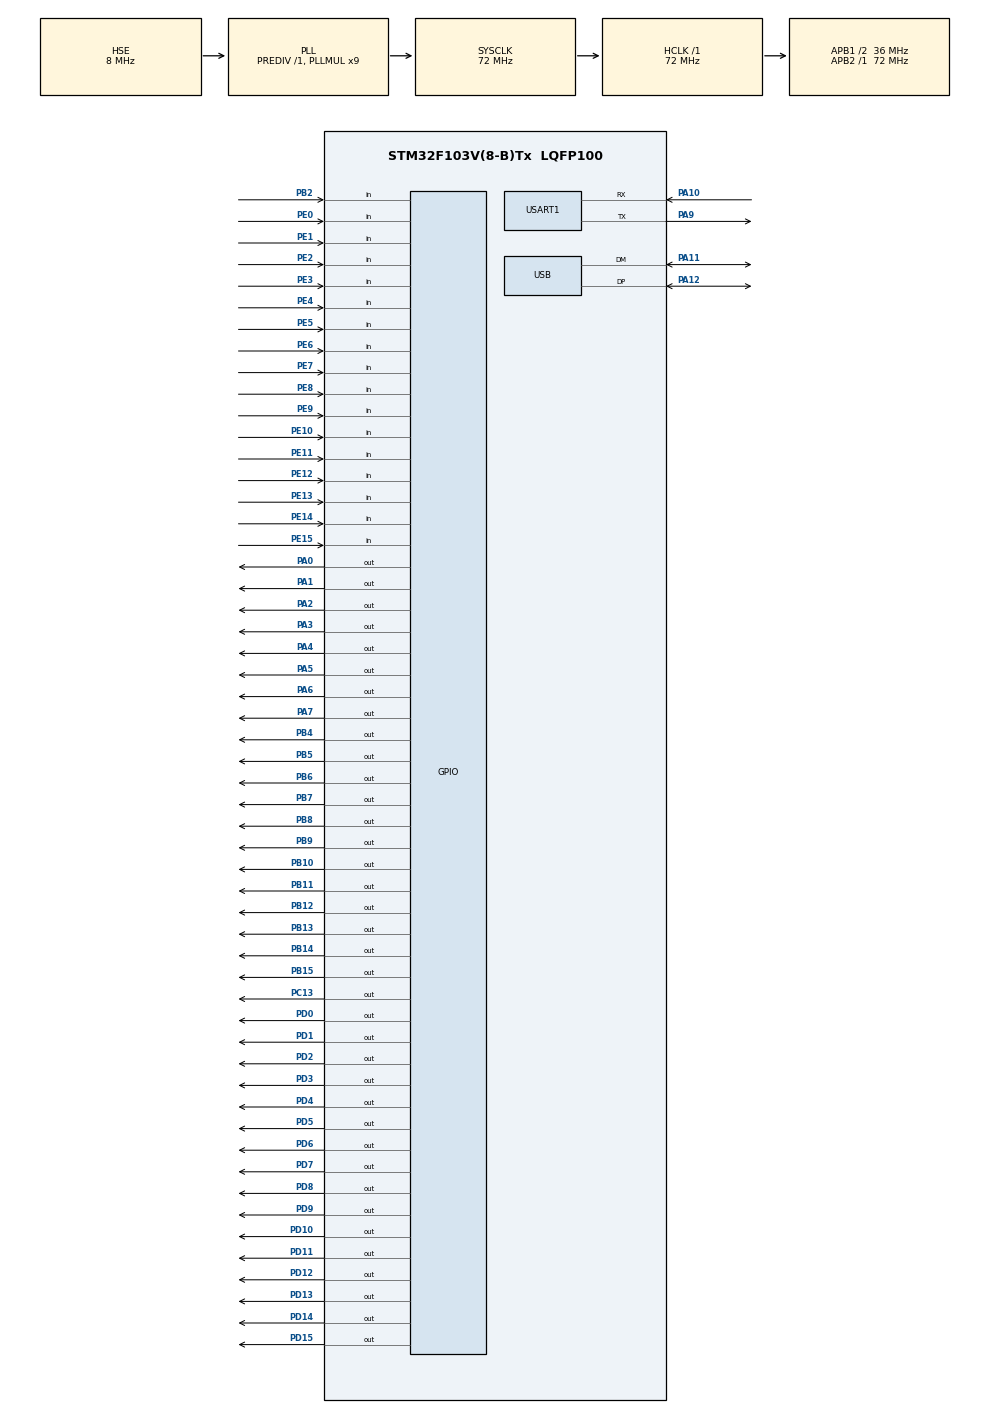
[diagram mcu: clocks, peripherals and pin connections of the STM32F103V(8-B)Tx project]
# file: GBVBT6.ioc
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Mcu.Family=STM32F1
Mcu.Name=STM32F103V(8-B)Tx
Mcu.Package=LQFP100
NVIC.PriorityGroup=NVIC_PRIORITYGROUP_4
NVIC.USB_LP_CAN1_RX0_IRQn=true\:0\:0\:false\:false\:true\:false\:true\:true
OSC_IN.Mode=HSE-External-Oscillator
OSC_IN.Signal=RCC_OSC_IN
OSC_OUT.Mode=HSE-External-Oscillator
OSC_OUT.Signal=RCC_OSC_OUT
PA0-WKUP.GPIO_ModeDefaultOutputPP=GPIO_MODE_OUTPUT_PP
PA0-WKUP.GPIO_Speed=GPIO_SPEED_FREQ_HIGH
PA0-WKUP.Signal=GPIO_Output
PA1.GPIO_ModeDefaultOutputPP=GPIO_MODE_OUTPUT_PP
PA1.GPIO_Speed=GPIO_SPEED_FREQ_HIGH
PA1.Signal=GPIO_Output
PA10.Mode=Asynchronous
PA10.Signal=USART1_RX
PA11.Mode=Device
PA11.Signal=USB_DM
PA12.Mode=Device
PA12.Signal=USB_DP
PA13.Mode=Serial_Wire
PA13.Signal=SYS_JTMS-SWDIO
PA14.Mode=Serial_Wire
PA14.Signal=SYS_JTCK-SWCLK
PA2.GPIO_ModeDefaultOutputPP=GPIO_MODE_OUTPUT_PP
PA2.GPIO_Speed=GPIO_SPEED_FREQ_HIGH
PA2.Signal=GPIO_Output
PA3.GPIO_ModeDefaultOutputPP=GPIO_MODE_OUTPUT_PP
PA3.GPIO_Speed=GPIO_SPEED_FREQ_HIGH
PA3.Signal=GPIO_Output
PA4.GPIO_ModeDefaultOutputPP=GPIO_MODE_OUTPUT_PP
PA4.GPIO_Speed=GPIO_SPEED_FREQ_HIGH
PA4.Signal=GPIO_Output
PA5.GPIO_ModeDefaultOutputPP=GPIO_MODE_OUTPUT_PP
PA5.GPIO_Speed=GPIO_SPEED_FREQ_HIGH
PA5.Signal=GPIO_Output
PA6.GPIO_ModeDefaultOutputPP=GPIO_MODE_OUTPUT_PP
PA6.GPIO_Speed=GPIO_SPEED_FREQ_HIGH
PA6.Signal=GPIO_Output
PA7.GPIO_ModeDefaultOutputPP=GPIO_MODE_OUTPUT_PP
PA7.GPIO_Speed=GPIO_SPEED_FREQ_HIGH
PA7.Signal=GPIO_Output
PA9.Mode=Asynchronous
PA9.Signal=USART1_TX
PB10.GPIO_ModeDefaultOutputPP=GPIO_MODE_OUTPUT_PP
PB10.GPIO_PuPd=GPIO_PULLUP
PB10.GPIO_Speed=GPIO_SPEED_FREQ_HIGH
PB10.PinState=GPIO_PIN_SET
PB10.Signal=GPIO_Output
PB11.GPIO_ModeDefaultOutputPP=GPIO_MODE_OUTPUT_PP
PB11.GPIO_Speed=GPIO_SPEED_FREQ_HIGH
PB11.Signal=GPIO_Output
PB12.GPIO_ModeDefaultOutputPP=GPIO_MODE_OUTPUT_PP
PB12.GPIO_Speed=GPIO_SPEED_FREQ_HIGH
PB12.Signal=GPIO_Output
PB13.GPIO_ModeDefaultOutputPP=GPIO_MODE_OUTPUT_PP
PB13.GPIO_Speed=GPIO_SPEED_FREQ_HIGH
PB13.Signal=GPIO_Output
PB14.GPIO_ModeDefaultOutputPP=GPIO_MODE_OUTPUT_PP
PB14.GPIO_Speed=GPIO_SPEED_FREQ_HIGH
PB14.Signal=GPIO_Output
PB15.GPIO_ModeDefaultOutputPP=GPIO_MODE_OUTPUT_PP
PB15.GPIO_Speed=GPIO_SPEED_FREQ_HIGH
PB15.Signal=GPIO_Output
PB2.Signal=GPIO_Input
PB4.GPIO_ModeDefaultOutputPP=GPIO_MODE_OUTPUT_PP
PB4.GPIO_Speed=GPIO_SPEED_FREQ_HIGH
PB4.Signal=GPIO_Output
PB5.GPIO_ModeDefaultOutputPP=GPIO_MODE_OUTPUT_PP
PB5.GPIO_Speed=GPIO_SPEED_FREQ_HIGH
PB5.Signal=GPIO_Output
PB6.GPIO_ModeDefaultOutputPP=GPIO_MODE_OUTPUT_PP
PB6.GPIO_Speed=GPIO_SPEED_FREQ_HIGH
PB6.Signal=GPIO_Output
PB7.GPIO_ModeDefaultOutputPP=GPIO_MODE_OUTPUT_PP
PB7.GPIO_Speed=GPIO_SPEED_FREQ_HIGH
PB7.Signal=GPIO_Output
PB8.GPIO_ModeDefaultOutputPP=GPIO_MODE_OUTPUT_PP
PB8.GPIO_Speed=GPIO_SPEED_FREQ_HIGH
PB8.Signal=GPIO_Output
PB9.GPIO_ModeDefaultOutputPP=GPIO_MODE_OUTPUT_PP
PB9.GPIO_Speed=GPIO_SPEED_FREQ_HIGH
PB9.Signal=GPIO_Output
PC13-TAMPER-RTC.GPIO_Speed=GPIO_SPEED_FREQ_HIGH
PC13-TAMPER-RTC.PinState=GPIO_PIN_RESET
PC13-TAMPER-RTC.Signal=GPIO_Output
PD0.GPIO_ModeDefaultOutputPP=GPIO_MODE_OUTPUT_PP
PD0.GPIO_Speed=GPIO_SPEED_FREQ_HIGH
PD0.Signal=GPIO_Output
PD1.GPIO_ModeDefaultOutputPP=GPIO_MODE_OUTPUT_PP
PD1.GPIO_Speed=GPIO_SPEED_FREQ_HIGH
PD1.Signal=GPIO_Output
PD10.GPIO_ModeDefaultOutputPP=GPIO_MODE_OUTPUT_PP
PD10.GPIO_Speed=GPIO_SPEED_FREQ_HIGH
PD10.Signal=GPIO_Output
PD11.GPIO_ModeDefaultOutputPP=GPIO_MODE_OUTPUT_PP
PD11.GPIO_Speed=GPIO_SPEED_FREQ_HIGH
PD11.Signal=GPIO_Output
PD12.GPIO_ModeDefaultOutputPP=GPIO_MODE_OUTPUT_PP
PD12.GPIO_Speed=GPIO_SPEED_FREQ_HIGH
PD12.Signal=GPIO_Output
PD13.GPIO_ModeDefaultOutputPP=GPIO_MODE_OUTPUT_PP
PD13.GPIO_Speed=GPIO_SPEED_FREQ_HIGH
PD13.Signal=GPIO_Output
PD14.GPIO_ModeDefaultOutputPP=GPIO_MODE_OUTPUT_PP
PD14.GPIO_Speed=GPIO_SPEED_FREQ_HIGH
PD14.Signal=GPIO_Output
PD15.GPIO_ModeDefaultOutputPP=GPIO_MODE_OUTPUT_PP
PD15.GPIO_Speed=GPIO_SPEED_FREQ_HIGH
PD15.Signal=GPIO_Output
PD2.GPIO_ModeDefaultOutputPP=GPIO_MODE_OUTPUT_PP
PD2.GPIO_Speed=GPIO_SPEED_FREQ_HIGH
PD2.Signal=GPIO_Output
PD3.GPIO_ModeDefaultOutputPP=GPIO_MODE_OUTPUT_PP
PD3.GPIO_Speed=GPIO_SPEED_FREQ_HIGH
PD3.Signal=GPIO_Output
PD4.GPIO_ModeDefaultOutputPP=GPIO_MODE_OUTPUT_PP
PD4.GPIO_Speed=GPIO_SPEED_FREQ_HIGH
PD4.Signal=GPIO_Output
PD5.GPIO_ModeDefaultOutputPP=GPIO_MODE_OUTPUT_PP
PD5.GPIO_Speed=GPIO_SPEED_FREQ_HIGH
PD5.Signal=GPIO_Output
PD6.GPIO_ModeDefaultOutputPP=GPIO_MODE_OUTPUT_PP
PD6.GPIO_Speed=GPIO_SPEED_FREQ_HIGH
PD6.Signal=GPIO_Output
PD7.GPIO_ModeDefaultOutputPP=GPIO_MODE_OUTPUT_PP
PD7.GPIO_Speed=GPIO_SPEED_FREQ_HIGH
PD7.Signal=GPIO_Output
PD8.GPIO_ModeDefaultOutputPP=GPIO_MODE_OUTPUT_PP
PD8.GPIO_Speed=GPIO_SPEED_FREQ_HIGH
PD8.Signal=GPIO_Output
PD9.GPIO_ModeDefaultOutputPP=GPIO_MODE_OUTPUT_PP
PD9.GPIO_Speed=GPIO_SPEED_FREQ_HIGH
PD9.Signal=GPIO_Output
PE0.GPIO_PuPd=GPIO_PULLUP
PE0.Signal=GPIO_Input
PE1.GPIO_PuPd=GPIO_PULLUP
PE1.Signal=GPIO_Input
PE10.GPIO_PuPd=GPIO_PULLUP
PE10.Signal=GPIO_Input
PE11.GPIO_PuPd=GPIO_PULLUP
PE11.Signal=GPIO_Input
PE12.GPIO_PuPd=GPIO_PULLUP
PE12.Signal=GPIO_Input
PE13.GPIO_PuPd=GPIO_PULLUP
PE13.Signal=GPIO_Input
PE14.GPIO_PuPd=GPIO_PULLUP
PE14.Signal=GPIO_Input
PE15.GPIO_PuPd=GPIO_PULLUP
PE15.Signal=GPIO_Input
PE2.GPIO_PuPd=GPIO_PULLUP
PE2.Signal=GPIO_Input
PE3.GPIO_PuPd=GPIO_PULLUP
PE3.Signal=GPIO_Input
PE4.GPIO_PuPd=GPIO_PULLUP
PE4.Signal=GPIO_Input
PE5.GPIO_PuPd=GPIO_PULLUP
PE5.Signal=GPIO_Input
PE6.GPIO_PuPd=GPIO_PULLUP
PE6.Signal=GPIO_Input
PE7.GPIO_PuPd=GPIO_PULLUP
PE7.Signal=GPIO_Input
PE8.GPIO_PuPd=GPIO_PULLUP
PE8.Signal=GPIO_Input
PE9.GPIO_PuPd=GPIO_PULLUP
PE9.Signal=GPIO_Input
ProjectManager.HeapSize=0x1000
ProjectManager.StackSize=0x2000
ProjectManager.TargetToolchain=MDK-ARM V5.32
RCC.AHBFreq_Value=72000000
RCC.APB1CLKDivider=RCC_HCLK_DIV2
RCC.APB1Freq_Value=36000000
RCC.APB1TimFreq_Value=72000000
RCC.APB2Freq_Value=72000000
RCC.APB2TimFreq_Value=72000000
RCC.HCLKFreq_Value=72000000
RCC.PLLMUL=RCC_PLL_MUL9
RCC.SYSCLKFreq_VALUE=72000000
RCC.SYSCLKSource=RCC_SYSCLKSOURCE_PLLCLK
RCC.USBFreq_Value=48000000
RCC.USBPrescaler=RCC_USBCLKSOURCE_PLL_DIV1_5
USART1.VirtualMode=VM_ASYNC
USB_DEVICE.CLASS_NAME_FS=CDC
USB_DEVICE.VirtualMode=Cdc
USB_DEVICE.VirtualModeFS=Cdc_FS
VP_USB_DEVICE_VS_USB_DEVICE_CDC_FS.Mode=CDC_FS
board=custom

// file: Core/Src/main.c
/* USER CODE BEGIN Header */
/**
  ******************************************************************************
  * @file           : main.c
  * @brief          : Main program body
  ******************************************************************************
  * @attention
  *
  * Copyright (c) 2025 STMicroelectronics.
  * All rights reserved.
  *
  * This software is licensed under terms that can be found in the LICENSE file
  * in the root directory of this software component.
  * If no LICENSE file comes with this software, it is provided AS-IS.
  *
  ******************************************************************************
  */
/* USER CODE END Header */
#include "main.h"
#include "usart.h"
#include "usb_device.h"
#include "gpio.h"

/* USER CODE BEGIN Includes */
#include "MD.h"
#include <stdio.h>
#include <stdint.h>
#include <string.h>
#include "usbd_cdc_if.h"
/* USER CODE END Includes */

void SystemClock_Config(void);

/* USER CODE BEGIN 0 */
	uint8_t receiveBuffer[16][64];
	uint8_t cmdbuff[64];
	uint8_t transmitBuffer[1024];
	uint32_t datacnt;
	uint8_t buffcnt;
	uint32_t addj;
	uint32_t bank = 0;
	uint32_t endadd;
	uint16_t usetime = 0;
	char usetimes[30];
	char displaybuff[50];

	void CDC_Transmit(const char* str)
		{
			uint16_t len = strlen(str);
			while (CDC_Transmit_FS((uint8_t*)str, len) == USBD_BUSY) {
			}
		}

	int fputc(int ch, FILE *f)
		{
			HAL_UART_Transmit(&huart1, (uint8_t *)&ch, 1, 0xffff);
			return ch;
		}

	void memclear(void)
		{
			for(uint8_t i=0;i<15;i++)
				{
					for(uint8_t j = 0;j<64;j++)
					{
						receiveBuffer[i][j]=0x00;
					}
				}
		}

	void memclearTX(void)
		{
			for(uint32_t i=0;i<1024;i++)
				{
					transmitBuffer[i]=0x00;
				}
		}

	void cmdclear(void)
		{
			for(uint8_t j = 0;j<64;j++)
			{
				cmdbuff[j]=0x00;
			}
		}

/* USER CODE END 0 */

int main(void)
{

  /* MCU Configuration--------------------------------------------------------*/

  /* Reset of all peripherals, Initializes the Flash interface and the Systick. */
  HAL_Init();

  /* Configure the system clock */
  SystemClock_Config();

  /* Initialize all configured peripherals */
  MX_GPIO_Init();
  MX_USART1_UART_Init();
  MX_USB_DEVICE_Init();
  /* USER CODE BEGIN 2 */
	HAL_Delay(10);
	addj=0;
	endadd=0;
	memclear();
	cmdclear();
	write_mode();
	memclearTX();
	buffcnt = 0;
  /* USER CODE END 2 */

  /* Infinite loop */
  /* USER CODE BEGIN WHILE */
  while (1)
  {
		if (cmdbuff[0] == 0x0A) {//MD CHOOSE SIZE DUMP
			if((cmdbuff[1] == 0xAA)&&(cmdbuff[2] == 0x55)&&(cmdbuff[3] == 0xAA)&&(cmdbuff[4] == 0xBB)){
				uint32_t wsize = 0;
				if(cmdbuff[5] == 0x04){
				CDC_Transmit("4M ROM DUMP START!!!\r\n");
				wsize = 4096;
				}
				else if(cmdbuff[5] == 0x02){
				CDC_Transmit("1M ROM DUMP START!!!\r\n");
				wsize = 1024;
				}
				else if(cmdbuff[5] == 0x03){
				CDC_Transmit("2M ROM DUMP START!!!\r\n");
				wsize = 2048;
				}
				else{
				CDC_Transmit("512K ROM DUMP START!!!\r\n");
				wsize = 512;
				}
				read_mode();
				MD_WR = 1;
				MD_RD = 1;
				MD_CS = 1;
				memclearTX();
				HAL_Delay(100);
				for(uint32_t j=0 ;j < wsize ; j++){
					for(uint16_t i = 0;i<512;i++){
							setAddress(j*512+i);
							MD_CS = 0;
							MD_RD = 0;
							Delay_nop(30);
							transmitBuffer[i*2] = ((GPIOE->IDR) >>8) & 0xff;
							transmitBuffer[i*2+1] = (GPIOE->IDR) & 0xff;
							MD_RD = 1;
							MD_CS = 1;
							Delay_nop(50);
						}
					CDC_Transmit_FS(transmitBuffer, 1024);
					}
				HAL_Delay(150);
				CDC_Transmit("DUMPER ROM FINISH!!!\r\n");
			}
			CDC_Transmit("PUSH SAVE GAME BUTTON!!!\r\n");
			write_mode();
			cmdclear();
			buffcnt = 0;
			}
		if (cmdbuff[0] == 0x1A) {//MD SRAM CHOOSE SIZE DUMP
			if((cmdbuff[1] == 0xAA)&&(cmdbuff[2] == 0x55)&&(cmdbuff[3] == 0xAA)&&(cmdbuff[4] == 0xBB)){
				uint32_t wsize = 0;
				if(cmdbuff[5] == 0x01){
				CDC_Transmit("32K RAM DUMP START!!!\r\n");
				wsize = 32;
				}
				else{
				CDC_Transmit("8K ROM DUMP START!!!\r\n");
				wsize = 8;
				}
				enableSram_MD(1);
				MD_WR = 1;//WR=1
				MD_RD = 1;//RD=1
				MD_CS = 1;//CS=1
				memclearTX();
				HAL_Delay(100);
				for(uint32_t j=0 ;j < wsize ; j++){
					for(uint16_t i = 0;i<1024;i++){
							setAddress(j*1024+i);
							PAout(4) = 1;//A20=1
							MD_CS = 0;//CS=0
							MD_RD = 0;//RD=0
							Delay_nop(30);
							transmitBuffer[i] = (GPIOE->IDR) & 0xff;
							MD_CS = 1;//RD=1
							MD_CS = 1;//CS=1
							Delay_nop(50);
						}
					CDC_Transmit_FS(transmitBuffer, 1024);
					}
				HAL_Delay(150);
				enableSram_MD(0);
				CDC_Transmit("DUMPER RAM FINISH!!!\r\n");
			}
			//CDC_Transmit("PUSH SAVE BUTTON!!!\r\n");
			write_mode();
			cmdclear();
			buffcnt = 0;
		}
		if (cmdbuff[0] == 0x0B) {//MD FLASH WRITE
			if((cmdbuff[1] == 0xAA)&&(cmdbuff[2] == 0x55)&&(cmdbuff[3] == 0xAA)&&(cmdbuff[4] == 0xBB)){
				uint32_t addj = cmdbuff[5];
				uint32_t bank = cmdbuff[6];
				uint32_t addw = bank*64*512+addj*512;
				for(uint16_t i = 0;i<1024;i=i+2)
					{
						if((receiveBuffer[i/64][i%64]==0xff)&(receiveBuffer[i/64][i%64+1]==0xff))
							{
							}
						else
							{
								setByte(0x555,0xaa);
								setByte(0x2aa,0x55);
								setByte(0x555,0xa0);
								GPIO_WriteHigh(GPIOE, receiveBuffer[i/64][i%64]);
								GPIO_WriteLow(GPIOE,receiveBuffer[i/64][i%64+1]);
								setAddress(i/2+addw);
								MD_CS = 0;
								MD_WR = 0;
								Delay_nop(35);
								MD_WR = 1;
								MD_CS = 1;
								Delay_nop(80);
							}
					}
				buffcnt = 0;
				memclear();
				cmdclear();
				bank=bank+1;
				sprintf(displaybuff,"ADD:0x%X WRITE OK\r\n",addw);
				CDC_Transmit(displaybuff);
			}
		}
		if (cmdbuff[0] == 0x1B) {//MD FLASH WRITE
			if((cmdbuff[1] == 0xAA)&&(cmdbuff[2] == 0x55)&&(cmdbuff[3] == 0xAA)&&(cmdbuff[4] == 0xBB)){
				uint32_t addj = cmdbuff[5];
				uint32_t bank = cmdbuff[6];
				uint32_t addw = bank*64*1024+addj*1024;
				enableSram_MD(1);
				write_mode();
				for(uint16_t i = 0;i<1024;i++)
					{
						GPIO_WriteLow(GPIOE,receiveBuffer[i/64][i%64]);
						setAddress(i+addw);
						PAout(4) = 1;//A20=1
						Delay_nop(200);
						MD_CS = 0;//CS=0
						MD_WR = 0;//WR=0
						Delay_nop(200);
						MD_WR = 1;//CS=0
						MD_CS = 1;//WR=0
						Delay_nop(200);
					}
				enableSram_MD(0);
				buffcnt = 0;
				memclear();
				cmdclear();
				bank=bank+1;
				sprintf(displaybuff,"ADD:0x%X WRITE GK\r\n",addw);
				CDC_Transmit(displaybuff);
			}
		}
		if (cmdbuff[0] == 0x0C) {//MD DUMPER CONNECT
			if((cmdbuff[1] == 0xAA)&&(cmdbuff[2] == 0x55)&&(cmdbuff[3] == 0xAA)&&(cmdbuff[4] == 0xBB)){
			HAL_Delay(100);
			CDC_Transmit("FlashMaster MD Dumper is connected\r\n");
			cmdclear();

      buffcnt = 0;
			}
    }
		if (cmdbuff[0] == 0x0D) {//MD CHECK HEADER
			if((cmdbuff[1] == 0xAA)&&(cmdbuff[2] == 0x55)&&(cmdbuff[3] == 0xAA)&&(cmdbuff[4] == 0xBB)){
			read_mode();
			checkid();
			HAL_Delay(100);
			//checkheadermenu();
			write_mode();
			cmdclear();
			buffcnt = 0;
			}
		}
		if (cmdbuff[0] == 0x0E) {//MDFLASHERASE
			if((cmdbuff[1] == 0xAA)&&(cmdbuff[2] == 0x55)&&(cmdbuff[3] == 0xAA)&&(cmdbuff[4] == 0xBB)){
				eraseFLASH();
				HAL_Delay(100);
				CDC_Transmit("SRAM ERASE START\r\n");
				enableSram_MD(1);
				write_mode();
					for(uint32_t j = 0;j<32768;j++)
						{
							GPIO_WriteLow(GPIOE,0x00);
							setAddress(j);
							PAout(4) = 1;//A20=1
							Delay_nop(200);
							MD_CS = 0;//CS=0
							MD_WR = 0;//WR=0
							Delay_nop(200);
							MD_WR = 1;//CS=0
							MD_CS = 1;//WR=0
							Delay_nop(200);
						}
				enableSram_MD(0);
				CDC_Transmit("SRAM ERASE FINISH!!!\r\n");
				cmdclear();
				buffcnt = 0;
			}
		}
		if (cmdbuff[0] == 0x1E) {//MDCHOOSE SIZE SECTORERASE
			if((cmdbuff[1] == 0xAA)&&(cmdbuff[2] == 0x55)&&(cmdbuff[3] == 0xAA)&&(cmdbuff[4] == 0xBB)){
				uint32_t address = 0;
				uint32_t sectoradd = 0;
				if (cmdbuff[5] == 0x1)
					{
						CDC_Transmit("512K ERASEING\r\n");
						sectoradd = 0x40000;
					}
				else if (cmdbuff[5] == 0x2)
					{
						CDC_Transmit("1M ERASEING\r\n");
						sectoradd = 0x80000;
					}
				else if (cmdbuff[5] == 0x3)
					{
						CDC_Transmit("2M ERASEING\r\n");
						sectoradd = 0x100000;
					}
				else if (cmdbuff[5] == 0x4)
					{
						CDC_Transmit("4M ERASEING\r\n");
						sectoradd = 0x200000;
					}
				else if (cmdbuff[5] == 0x0)
					{
						sectoradd = 1;
						address = cmdbuff[6];
						address =(address<<8)+cmdbuff[7];
						address =(address<<8)+cmdbuff[8];
						sprintf(displaybuff,"SECTORADD:0x%X ERASEING\r\n",address);
						CDC_Transmit(displaybuff);
					}
				else
					{
						CDC_Transmit("512K ERASEING\r\n");
						sectoradd = 0x40000;
					}
				if(cmdbuff[5] < 0x5){
						for(uint32_t i = 0;i < sectoradd ;)
							{
								erase_sector(address);
								Delay_nop(100);
								CDC_Transmit(".");
								if(address<0x8000)
									{
										address = address+0x1000;
										i = i+0x1000;
									}
								else
									{
										address = address+0x8000;
										i = i+0x8000;
									}
							}
					}
				else{
						eraseFLASH();
					}
				if (cmdbuff[5] == 0x1)
					{
						CDC_Transmit("\r\n512K ERASE OK!\r\n");
					}
				else if (cmdbuff[5] == 0x2)
					{
						CDC_Transmit("\r\n1M ERASE OK!\r\n");
					}
				else if (cmdbuff[5] == 0x3)
					{
						CDC_Transmit("\r\n2M ERASE OK!\r\n");
					}
				else if (cmdbuff[5] == 0x4)
					{
						CDC_Transmit("\r\n4M ERASE OK!\r\n");
					}
				else if (cmdbuff[5] == 0x5)
					{
						CDC_Transmit("\r\n8M ERASE OK!\r\n");
					}
				else if (cmdbuff[5] == 0x0)
					{
						sprintf(displaybuff,"SECTORADD:0x%X ERASE OK!\r\n",address);
						CDC_Transmit(displaybuff);
					}
				else
					{
						CDC_Transmit("\r\n512K ERASE OK!\r\n");
					}
				write_mode();
				cmdclear();
				buffcnt = 0;
			}
    }

		if (cmdbuff[0] == 0x2E) {//MDSECTORERASE
			if((cmdbuff[1] == 0xAA)&&(cmdbuff[2] == 0x55)&&(cmdbuff[3] == 0xAA)&&(cmdbuff[4] == 0xBB)){
				write_mode();
				uint32_t address = cmdbuff[5];
				address = ( address << 8 ) + cmdbuff[6];
				address = ( address << 8 ) + cmdbuff[7];
				erase_sector(address);
				sprintf(displaybuff,"\r\nSECTORADD:0x%X ERASE OK!\r\n",address);
				CDC_Transmit(displaybuff);
				cmdclear();
				buffcnt = 0;
			}
    }
		if (cmdbuff[0] == 0x0F) {//MDBUFFCLEAT
			if((cmdbuff[1] == 0xAA)&&(cmdbuff[2] == 0x55)&&(cmdbuff[3] == 0xAA)&&(cmdbuff[4] == 0xBB)){
			cmdclear();
			buffcnt = 0;
			bank = 0;
			HAL_Delay(100);
			CDC_Transmit("BUFF IS CLEAR\r\n");
			}
    }
    /* USER CODE END WHILE */

  }
}

void SystemClock_Config(void)
{
  RCC_OscInitTypeDef RCC_OscInitStruct = {0};
  RCC_ClkInitTypeDef RCC_ClkInitStruct = {0};
  RCC_PeriphCLKInitTypeDef PeriphClkInit = {0};

  /** Initializes the RCC Oscillators according to the specified parameters
  * in the RCC_OscInitTypeDef structure.
  */
  RCC_OscInitStruct.OscillatorType = RCC_OSCILLATORTYPE_HSE;
  RCC_OscInitStruct.HSEState = RCC_HSE_ON;
  RCC_OscInitStruct.HSEPredivValue = RCC_HSE_PREDIV_DIV1;
  RCC_OscInitStruct.HSIState = RCC_HSI_ON;
  RCC_OscInitStruct.PLL.PLLState = RCC_PLL_ON;
  RCC_OscInitStruct.PLL.PLLSource = RCC_PLLSOURCE_HSE;
  RCC_OscInitStruct.PLL.PLLMUL = RCC_PLL_MUL9;
  if (HAL_RCC_OscConfig(&RCC_OscInitStruct) != HAL_OK)
  {
    Error_Handler();
  }

  /** Initializes the CPU, AHB and APB buses clocks
  */
  RCC_ClkInitStruct.ClockType = RCC_CLOCKTYPE_HCLK|RCC_CLOCKTYPE_SYSCLK
                              |RCC_CLOCKTYPE_PCLK1|RCC_CLOCKTYPE_PCLK2;
  RCC_ClkInitStruct.SYSCLKSource = RCC_SYSCLKSOURCE_PLLCLK;
  RCC_ClkInitStruct.AHBCLKDivider = RCC_SYSCLK_DIV1;
  RCC_ClkInitStruct.APB1CLKDivider = RCC_HCLK_DIV2;
  RCC_ClkInitStruct.APB2CLKDivider = RCC_HCLK_DIV1;

  if (HAL_RCC_ClockConfig(&RCC_ClkInitStruct, FLASH_LATENCY_2) != HAL_OK)
  {
    Error_Handler();
  }
  PeriphClkInit.PeriphClockSelection = RCC_PERIPHCLK_USB;
  PeriphClkInit.UsbClockSelection = RCC_USBCLKSOURCE_PLL_DIV1_5;
  if (HAL_RCCEx_PeriphCLKConfig(&PeriphClkInit) != HAL_OK)
  {
    Error_Handler();
  }
}

void Error_Handler(void)
{
  __disable_irq();
  while (1)
  {
  }
}
